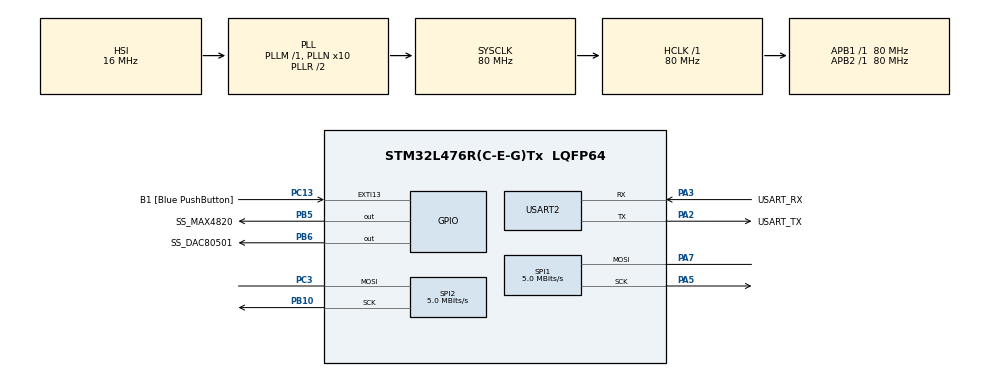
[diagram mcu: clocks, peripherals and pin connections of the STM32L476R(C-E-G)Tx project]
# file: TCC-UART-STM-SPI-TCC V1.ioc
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Dma.Request0=USART2_RX
Dma.USART2_RX.0.Direction=DMA_PERIPH_TO_MEMORY
Dma.USART2_RX.0.Instance=DMA1_Channel6
Dma.USART2_RX.0.MemDataAlignment=DMA_MDATAALIGN_BYTE
Dma.USART2_RX.0.MemInc=DMA_MINC_ENABLE
Dma.USART2_RX.0.Mode=DMA_NORMAL
Dma.USART2_RX.0.PeriphDataAlignment=DMA_PDATAALIGN_BYTE
Dma.USART2_RX.0.PeriphInc=DMA_PINC_DISABLE
Dma.USART2_RX.0.Priority=DMA_PRIORITY_LOW
Mcu.Family=STM32L4
Mcu.Name=STM32L476R(C-E-G)Tx
Mcu.Package=LQFP64
NVIC.DMA1_Channel6_IRQn=true\:0\:0\:false\:false\:true\:false\:true\:true
NVIC.PriorityGroup=NVIC_PRIORITYGROUP_4
NVIC.USART2_IRQn=true\:0\:0\:false\:false\:true\:true\:true\:true
PA13\ (JTMS-SWDIO).GPIO_Label=TMS
PA13\ (JTMS-SWDIO).Mode=Serial_Wire
PA13\ (JTMS-SWDIO).Signal=SYS_JTMS-SWDIO
PA14\ (JTCK-SWCLK).GPIO_Label=TCK
PA14\ (JTCK-SWCLK).Mode=Serial_Wire
PA14\ (JTCK-SWCLK).Signal=SYS_JTCK-SWCLK
PA2.GPIO_Label=USART_TX
PA2.GPIO_Mode=GPIO_MODE_AF_PP
PA2.GPIO_PuPd=GPIO_NOPULL
PA2.GPIO_Speed=GPIO_SPEED_FREQ_VERY_HIGH
PA2.Mode=Asynchronous
PA2.Signal=USART2_TX
PA3.GPIO_Label=USART_RX
PA3.GPIO_Mode=GPIO_MODE_AF_PP
PA3.GPIO_PuPd=GPIO_NOPULL
PA3.GPIO_Speed=GPIO_SPEED_FREQ_VERY_HIGH
PA3.Mode=Asynchronous
PA3.Signal=USART2_RX
PA5.Mode=Simplex_Bidirectional_Master
PA5.Signal=SPI1_SCK
PA7.Mode=Simplex_Bidirectional_Master
PA7.Signal=SPI1_MOSI
PB10.Mode=Simplex_Bidirectional_Master
PB10.Signal=SPI2_SCK
PB3\ (JTDO-TRACESWO).GPIO_Label=SWO
PB3\ (JTDO-TRACESWO).Signal=SYS_JTDO-SWO
PB5.GPIO_Label=SS_MAX4820
PB5.Signal=GPIO_Output
PB6.GPIO_Label=SS_DAC80501
PB6.Signal=GPIO_Output
PC13.GPIO_Label=B1 [Blue PushButton]
PC13.GPIO_ModeDefaultEXTI=GPIO_MODE_IT_FALLING
PC13.GPIO_PuPd=GPIO_NOPULL
PC13.Signal=GPXTI13
PC14-OSC32_IN\ (PC14).Mode=LSE-External-Oscillator
PC14-OSC32_IN\ (PC14).Signal=RCC_OSC32_IN
PC15-OSC32_OUT\ (PC15).Mode=LSE-External-Oscillator
PC15-OSC32_OUT\ (PC15).Signal=RCC_OSC32_OUT
PC3.Mode=Simplex_Bidirectional_Master
PC3.Signal=SPI2_MOSI
PH0-OSC_IN\ (PH0).Signal=RCC_OSC_IN
PH1-OSC_OUT\ (PH1).Signal=RCC_OSC_OUT
ProjectManager.HeapSize=0x200
ProjectManager.StackSize=0x400
ProjectManager.TargetToolchain=STM32CubeIDE
RCC.ADCFreq_Value=64000000
RCC.AHBFreq_Value=80000000
RCC.APB1Freq_Value=80000000
RCC.APB1TimFreq_Value=80000000
RCC.APB2Freq_Value=80000000
RCC.APB2TimFreq_Value=80000000
RCC.CortexFreq_Value=80000000
RCC.HCLKFreq_Value=80000000
RCC.HSE_VALUE=8000000
RCC.HSI_VALUE=16000000
RCC.MSI_VALUE=4000000
RCC.PLLN=10
RCC.PLLSourceVirtual=RCC_PLLSOURCE_HSI
RCC.PREFETCH_ENABLE=1
RCC.SYSCLKFreq_VALUE=80000000
RCC.SYSCLKSource=RCC_SYSCLKSOURCE_PLLCLK
RCC.USBFreq_Value=64000000
RCC.VCOOutputFreq_Value=160000000
SPI1.BaudRatePrescaler=SPI_BAUDRATEPRESCALER_16
SPI1.CLKPolarity=SPI_POLARITY_HIGH
SPI1.CalculateBaudRate=5.0 MBits/s
SPI1.DataSize=SPI_DATASIZE_8BIT
SPI1.Direction=SPI_DIRECTION_1LINE
SPI1.Mode=SPI_MODE_MASTER
SPI1.VirtualType=VM_MASTER
SPI2.BaudRatePrescaler=SPI_BAUDRATEPRESCALER_16
SPI2.CalculateBaudRate=5.0 MBits/s
SPI2.DataSize=SPI_DATASIZE_8BIT
SPI2.Direction=SPI_DIRECTION_1LINE
SPI2.Mode=SPI_MODE_MASTER
SPI2.VirtualType=VM_MASTER
USART2.VirtualMode-Asynchronous=VM_ASYNC
board=NUCLEO-L476RG

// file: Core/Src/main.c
/* USER CODE BEGIN Header */
/**
  ******************************************************************************
  * @file           : main.c
  * @brief          : Main program body
  ******************************************************************************
  * @attention
  *
  * Copyright (c) 2024 STMicroelectronics.
  * All rights reserved.
  *
  * This software is licensed under terms that can be found in the LICENSE file
  * in the root directory of this software component.
  * If no LICENSE file comes with this software, it is provided AS-IS.
  *
  ******************************************************************************
  */
/* USER CODE END Header */
#include "main.h"

/* USER CODE BEGIN Includes */
#include "string.h"
#include "stm32l4xx_hal.h"
/* USER CODE END Includes */

/* USER CODE BEGIN PTD */
extern SPI_HandleTypeDef hspi1;  // De SPI interface die we gebruiken
/* USER CODE END PTD */

/* USER CODE BEGIN PD */

//UART
#define RxBuf_SIZE 10 //16 bits geeft waarde van 0 tm 65535, dus maximaal 5 decimalen + \r\n dus 7 decimalen maximaal. Om errors te voorkomen is de buffer 10
#define MainBuf_SIZE 10

//MAX4820
extern SPI_HandleTypeDef hspi2;
#define MAX4820_CS_PIN    GPIO_PIN_5   // De GPIO pin die verbonden is met CS
#define MAX4820_CS_PORT   GPIOB        // De GPIO poort die verbonden is met CS

//Registers adres definitie van de DAC80501
#define ADDR_NOOP_register 0b00000000 //No operation, Hex 0x00
#define ADDR_DEVID_register 0b00000001 //Device identification, Hex 0x01
#define ADDR_SYNC_register 0b0000 0010 //Synchronisation, Hex 0x02
#define ADDR_CONFIG_register 0b00000011 //Configuration, Hex 0x03
#define ADDR_GAIN_register 0b00000100 //Gain, Hex 0x04
#define ADDR_TRIGGER_register 0b00000101 //Trigger, Hex 0x05
#define ADDR_STATUS_register 0b00000111 //Status, Hex 0x07
#define ADDR_DAC_DATA_register 0b00001000 //Digital-to-analog converter, Hex 0x08

//Register Data van de DAC80501
#define DATA_NOOP 0x00
	//#define DATA_DEVID_register 0b0000 0001 0001 0101, kan worden uitgelezen
#define DATA_SYNC_register 0x00
#define DATA_CONFIG_register 0b0000000100000000 //disabling internal reference & power-down mode
#define DATA_GAIN_register 0x00 //referencespanning delen door 1 & gain op 1 zetten
#define DATA_TRIGGER_register 0x0A //dit reset de dac  & zet de dac in asynchronous mode(default)
	//#define DATA_STATUS_register 0x01 geeft aan of DAC wordt uitgeschakeld, 0x00 geeft aan dat dac is ingeschakeld
#define DAC80501_SPI_TIMEOUT 100

//SS pin van de DAC, verander zonodig
#define DAC_SS_Pin GPIO_PIN_6
#define DAC_SS_Port GPIOB

/* USER CODE END PD */

SPI_HandleTypeDef hspi1;
SPI_HandleTypeDef hspi2;

UART_HandleTypeDef huart2;
DMA_HandleTypeDef hdma_usart2_rx;

/* USER CODE BEGIN PV */
uint8_t RxBuf[RxBuf_SIZE];
uint8_t MainBuf[MainBuf_SIZE];
char TxBuf[RxBuf_SIZE];
uint16_t convertedString;

//MAX4820
uint8_t MAX4820_SS_Pin = GPIO_PIN_5; //port B

//DAC80501
uint8_t DacAdres = 0b10010010;
uint16_t DATA__DAC_DATA_register;
HAL_StatusTypeDef check;
/* USER CODE END PV */

void SystemClock_Config(void);
static void MX_GPIO_Init(void);
static void MX_DMA_Init(void);
static void MX_USART2_UART_Init(void);
static void MX_SPI2_Init(void);
static void MX_SPI1_Init(void);
/* USER CODE BEGIN PFP */
//MAX4820
void MAX4820_Select(void)
{
    HAL_GPIO_WritePin(MAX4820_CS_PORT, MAX4820_CS_PIN, GPIO_PIN_RESET); // CS low
}
void MAX4820_Deselect(void)
{
    HAL_GPIO_WritePin(MAX4820_CS_PORT, MAX4820_CS_PIN, GPIO_PIN_SET);   // CS high
}

void MAX4820_SendData(uint8_t data)
{
	uint8_t txData[1];
	txData[0] = data;

    MAX4820_Select();  // Activeren van CS
    HAL_SPI_Transmit(&hspi2, txData, 1, HAL_MAX_DELAY);  // Verzenden van 8 bits data
    MAX4820_Deselect();  // Deactiveren van CS
}

void MAX4820_5V_pos(void)
{
	MAX4820_SendData(0b00000110); //dec: 6
}

void MAX4820_60V_pos(void)
{
	MAX4820_SendData(0b00000101); //dec:5
}

void MAX4820_5V_neg(void)
{
	MAX4820_SendData(0b00001010); //dec: 10
}

void MAX4820_60V_neg(void)
{
	MAX4820_SendData(0b00001001); //dec: 9
}

HAL_StatusTypeDef DAC80501Reset(void)
{
    HAL_StatusTypeDef status;
    uint8_t txData[3];

    // Stel het adres en de data in voor het trigger-register van de DAC80501
    txData[0] = ADDR_TRIGGER_register;                     // Registeradres
    txData[1] = (DATA_TRIGGER_register >> 8 ) & 0xFF;      // MSB van de 16-bits data
    txData[2] = (DATA_TRIGGER_register & 0xFF);              // LSB van de 16-bits data

    // Zet de Chip Select (CS/SS) lijn laag om SPI-communicatie te starten
    HAL_GPIO_WritePin(DAC_SS_Port, DAC_SS_Pin, GPIO_PIN_RESET);

    // Verzend de 24-bits data via SPI
    status = HAL_SPI_Transmit(&hspi1, txData, 3, DAC80501_SPI_TIMEOUT);

    // Zet de Chip Select (CS/SS) lijn hoog om SPI-communicatie te beëindigen
    HAL_GPIO_WritePin(DAC_SS_Port, DAC_SS_Pin, GPIO_PIN_SET);

    // Retourneer de status van de SPI-communicatie (HAL_OK of foutcode)
    return status;
}

HAL_StatusTypeDef DAC80501Config(void)
{
	 HAL_StatusTypeDef status;
	 uint8_t txData[3];

	 txData[0] =  ADDR_CONFIG_register;                     // Registeradres
	 txData[1] = (DATA_CONFIG_register >> 8 ) & 0xFF;      // MSB van de 16-bits data
	 txData[2] = (DATA_CONFIG_register & 0xFF);              // LSB van de 16-bits data

	 // Zet de Chip Select (CS/SS) lijn laag om SPI-communicatie te starten
	 HAL_GPIO_WritePin(DAC_SS_Port, DAC_SS_Pin, GPIO_PIN_RESET);

	 // Verzend de 24-bits data via SPI
	 status = HAL_SPI_Transmit(&hspi1, txData, 3, DAC80501_SPI_TIMEOUT);

	 // Zet de Chip Select (CS/SS) lijn hoog om SPI-communicatie te beëindigen
	 HAL_GPIO_WritePin(DAC_SS_Port, DAC_SS_Pin, GPIO_PIN_SET);

	 // Retourneer de status van de SPI-communicatie (HAL_OK of foutcode)
	 return status;
}

HAL_StatusTypeDef DAC80501Gain(void)
{
	 HAL_StatusTypeDef status;
	 uint8_t txData[3];

	 txData[0] = ADDR_GAIN_register ;                     // Registeradres
	 txData[1] = (DATA_GAIN_register >> 8 ) & 0xFF;      // MSB van de 16-bits data
	 txData[2] = (DATA_GAIN_register & 0xFF);              // LSB van de 16-bits data

	 // Zet de Chip Select (CS/SS) lijn laag om SPI-communicatie te starten
	 HAL_GPIO_WritePin(DAC_SS_Port, DAC_SS_Pin, GPIO_PIN_RESET);

	 // Verzend de 24-bits data via SPI
	 status = HAL_SPI_Transmit(&hspi1, txData, 3, DAC80501_SPI_TIMEOUT);

	 // Zet de Chip Select (CS/SS) lijn hoog om SPI-communicatie te beëindigen
	 HAL_GPIO_WritePin(DAC_SS_Port, DAC_SS_Pin, GPIO_PIN_SET);

	 // Retourneer de status van de SPI-communicatie (HAL_OK of foutcode)
	 return status;
}

HAL_StatusTypeDef DAC80501DataVoltage5V(uint16_t voltage_mV)  //data(getal) moet in mV zijn van 0 tot 5000mV
{
	//Zorgen dat spanning tussen 0-5000mV zit
	if(voltage_mV > 5000){ //Houdt de spanning onder de 5000mV
		voltage_mV = 5000;
	}
	if(voltage_mV < 0){ //Houdt de spanning boven de 0mV. Werkt niet goed vanwerge unsigned naar signed conversion bij functie aanroep
		voltage_mV = 0;
	}

    HAL_StatusTypeDef status;
    uint16_t convertedDataVoltage = (uint16_t)(((uint32_t)voltage_mV * 65535) / 5000); // 0-5000mV omzetten naar 16 bits waarde die naar de dac gestuurd kan worden. gebruik gehele getallen
    uint8_t txData[3];

    // Stel het adres en de data in voor het trigger-register van de DAC80501
    txData[0] = ADDR_DAC_DATA_register;                     // Registeradres
    txData[1] = (convertedDataVoltage >> 8 ) & 0xFF;      // MSB van de 16-bits data
    txData[2] = (convertedDataVoltage & 0xFF);              // LSB van de 16-bits data

    // Zet de Chip Select (CS/SS) lijn laag om SPI-communicatie te starten
    HAL_GPIO_WritePin(DAC_SS_Port, DAC_SS_Pin, GPIO_PIN_RESET);

    // Verzend de 24-bits data via SPI
    status = HAL_SPI_Transmit(&hspi1, txData, 3, DAC80501_SPI_TIMEOUT);

    // Zet de Chip Select (CS/SS) lijn hoog om SPI-communicatie te beëindigen
    HAL_GPIO_WritePin(DAC_SS_Port, DAC_SS_Pin, GPIO_PIN_SET);

    // Retourneer de status van de SPI-communicatie (HAL_OK of foutcode)
    return status;
}

HAL_StatusTypeDef DAC80501DataVoltage60V(uint16_t voltage_mV)  //data(getal) moet in mV zijn van 0 tot 60000mV
{
	//Zorgen dat spanning tussen 0-5000mV zit
	if(voltage_mV > 60000){ //Houdt de spanning onder de 5000mV
		voltage_mV = 60000;
	}
	if(voltage_mV < 0){ //Houdt de spanning boven de 0mV. Werkt niet goed vanwerge unsigned naar signed conversion bij functie aanroep
		voltage_mV = 0;
	}

    HAL_StatusTypeDef status;
    uint16_t convertedDataVoltage = (uint16_t)(((uint32_t)voltage_mV * 65535) / (5000*12)); // 0-60000mV omzetten naar 16 bits waarde die naar de dac gestuurd kan worden. gebruik gehele getallen
    uint8_t txData[3];

    // Stel het adres en de data in voor het trigger-register van de DAC80501
    txData[0] = ADDR_DAC_DATA_register;                     // Registeradres
    txData[1] = (convertedDataVoltage >> 8 ) & 0xFF;      // MSB van de 16-bits data
    txData[2] = (convertedDataVoltage & 0xFF);              // LSB van de 16-bits data

    // Zet de Chip Select (CS/SS) lijn laag om SPI-communicatie te starten
    HAL_GPIO_WritePin(DAC_SS_Port, DAC_SS_Pin, GPIO_PIN_RESET);

    // Verzend de 24-bits data via SPI
    status = HAL_SPI_Transmit(&hspi1, txData, 3, DAC80501_SPI_TIMEOUT);

    // Zet de Chip Select (CS/SS) lijn hoog om SPI-communicatie te beëindigen
    HAL_GPIO_WritePin(DAC_SS_Port, DAC_SS_Pin, GPIO_PIN_SET);

    // Retourneer de status van de SPI-communicatie (HAL_OK of foutcode)
    return status;
}
/* USER CODE END PFP */

/* USER CODE BEGIN 0 */
void HAL_UARTEx_RxEventCallback(UART_HandleTypeDef *huart, uint16_t Size){

	if(huart->Instance == USART2){
		memcpy(MainBuf, RxBuf, Size);
		HAL_UARTEx_ReceiveToIdle_DMA(&huart2, RxBuf, RxBuf_SIZE);
		__HAL_DMA_DISABLE_IT(&hdma_usart2_rx, DMA_IT_HT);
	}

	//Kies een van de vier
	convertedString = (uint16_t)atoi((char* )RxBuf);
	MAX4820_60V_pos();DAC80501DataVoltage60V(convertedString);

	//MAX4820_5V_pos();
	//MAX4820_60V_neg();
	//MAX4820_5V_neg();
	HAL_UART_Transmit(&huart2, MainBuf, Size, 1000);

	memset(RxBuf,0,strlen(RxBuf));

}
/* USER CODE END 0 */

int main(void)
{

  /* MCU Configuration--------------------------------------------------------*/

  /* Reset of all peripherals, Initializes the Flash interface and the Systick. */
  HAL_Init();

  /* Configure the system clock */
  SystemClock_Config();

  /* Initialize all configured peripherals */
  MX_GPIO_Init();
  MX_DMA_Init();
  MX_USART2_UART_Init();
  MX_SPI2_Init();
  MX_SPI1_Init();
  /* USER CODE BEGIN 2 */
  HAL_UARTEx_ReceiveToIdle_DMA(&huart2, RxBuf, RxBuf_SIZE);
   __HAL_DMA_DISABLE_IT(&hdma_usart2_rx, DMA_IT_HT);
   HAL_Delay(1000);
  /* USER CODE END 2 */

  /* Infinite loop */
  /* USER CODE BEGIN WHILE */

   MAX4820_60V_pos();
  // MAX4820_5V_neg();
  // MAX4820_60V_neg();
  while (1)
  {

	  //DAC80501DataVoltage5V(4000);
//	  HAL_Delay(1000);
    /* USER CODE END WHILE */

  }
}

void SystemClock_Config(void)
{
  RCC_OscInitTypeDef RCC_OscInitStruct = {0};
  RCC_ClkInitTypeDef RCC_ClkInitStruct = {0};

  /** Configure the main internal regulator output voltage
  */
  if (HAL_PWREx_ControlVoltageScaling(PWR_REGULATOR_VOLTAGE_SCALE1) != HAL_OK)
  {
    Error_Handler();
  }

  /** Initializes the RCC Oscillators according to the specified parameters
  * in the RCC_OscInitTypeDef structure.
  */
  RCC_OscInitStruct.OscillatorType = RCC_OSCILLATORTYPE_HSI;
  RCC_OscInitStruct.HSIState = RCC_HSI_ON;
  RCC_OscInitStruct.HSICalibrationValue = RCC_HSICALIBRATION_DEFAULT;
  RCC_OscInitStruct.PLL.PLLState = RCC_PLL_ON;
  RCC_OscInitStruct.PLL.PLLSource = RCC_PLLSOURCE_HSI;
  RCC_OscInitStruct.PLL.PLLM = 1;
  RCC_OscInitStruct.PLL.PLLN = 10;
  RCC_OscInitStruct.PLL.PLLP = RCC_PLLP_DIV7;
  RCC_OscInitStruct.PLL.PLLQ = RCC_PLLQ_DIV2;
  RCC_OscInitStruct.PLL.PLLR = RCC_PLLR_DIV2;
  if (HAL_RCC_OscConfig(&RCC_OscInitStruct) != HAL_OK)
  {
    Error_Handler();
  }

  /** Initializes the CPU, AHB and APB buses clocks
  */
  RCC_ClkInitStruct.ClockType = RCC_CLOCKTYPE_HCLK|RCC_CLOCKTYPE_SYSCLK
                              |RCC_CLOCKTYPE_PCLK1|RCC_CLOCKTYPE_PCLK2;
  RCC_ClkInitStruct.SYSCLKSource = RCC_SYSCLKSOURCE_PLLCLK;
  RCC_ClkInitStruct.AHBCLKDivider = RCC_SYSCLK_DIV1;
  RCC_ClkInitStruct.APB1CLKDivider = RCC_HCLK_DIV1;
  RCC_ClkInitStruct.APB2CLKDivider = RCC_HCLK_DIV1;

  if (HAL_RCC_ClockConfig(&RCC_ClkInitStruct, FLASH_LATENCY_4) != HAL_OK)
  {
    Error_Handler();
  }
}

static void MX_SPI1_Init(void)
{

  /* SPI1 parameter configuration*/
  hspi1.Instance = SPI1;
  hspi1.Init.Mode = SPI_MODE_MASTER;
  hspi1.Init.Direction = SPI_DIRECTION_1LINE;
  hspi1.Init.DataSize = SPI_DATASIZE_8BIT;
  hspi1.Init.CLKPolarity = SPI_POLARITY_HIGH;
  hspi1.Init.CLKPhase = SPI_PHASE_1EDGE;
  hspi1.Init.NSS = SPI_NSS_SOFT;
  hspi1.Init.BaudRatePrescaler = SPI_BAUDRATEPRESCALER_16;
  hspi1.Init.FirstBit = SPI_FIRSTBIT_MSB;
  hspi1.Init.TIMode = SPI_TIMODE_DISABLE;
  hspi1.Init.CRCCalculation = SPI_CRCCALCULATION_DISABLE;
  hspi1.Init.CRCPolynomial = 7;
  hspi1.Init.CRCLength = SPI_CRC_LENGTH_DATASIZE;
  hspi1.Init.NSSPMode = SPI_NSS_PULSE_ENABLE;
  if (HAL_SPI_Init(&hspi1) != HAL_OK)
  {
    Error_Handler();
  }
  /* USER CODE BEGIN SPI1_Init 2 */
  //Deze code wordt gebruikt om de CPOL initial value op 1 te zetten. verander alleen de GPIO_InitStruct.Pin pin & HAL_GPIO_Init(GPIOA, &GPIO_InitStruct); poort
    GPIO_InitTypeDef GPIO_InitStruct = {0};
      GPIO_InitStruct.Pin = GPIO_PIN_5; // GPIOD Pin 1 is the SPI2_CLK
      GPIO_InitStruct.Mode = GPIO_MODE_AF_PP;
      if (hspi1.Init.CLKPolarity==SPI_POLARITY_HIGH) {
        GPIO_InitStruct.Pull = GPIO_PULLUP;
      } else {
        GPIO_InitStruct.Pull = GPIO_PULLDOWN;
      }
      GPIO_InitStruct.Speed = GPIO_SPEED_FREQ_VERY_HIGH;
      GPIO_InitStruct.Alternate = GPIO_AF5_SPI1;
      HAL_GPIO_Init(GPIOA, &GPIO_InitStruct);
      HAL_Delay(1);
  /* USER CODE END SPI1_Init 2 */

}

static void MX_SPI2_Init(void)
{

  /* SPI2 parameter configuration*/
  hspi2.Instance = SPI2;
  hspi2.Init.Mode = SPI_MODE_MASTER;
  hspi2.Init.Direction = SPI_DIRECTION_1LINE;
  hspi2.Init.DataSize = SPI_DATASIZE_8BIT;
  hspi2.Init.CLKPolarity = SPI_POLARITY_LOW;
  hspi2.Init.CLKPhase = SPI_PHASE_1EDGE;
  hspi2.Init.NSS = SPI_NSS_SOFT;
  hspi2.Init.BaudRatePrescaler = SPI_BAUDRATEPRESCALER_16;
  hspi2.Init.FirstBit = SPI_FIRSTBIT_MSB;
  hspi2.Init.TIMode = SPI_TIMODE_DISABLE;
  hspi2.Init.CRCCalculation = SPI_CRCCALCULATION_DISABLE;
  hspi2.Init.CRCPolynomial = 7;
  hspi2.Init.CRCLength = SPI_CRC_LENGTH_DATASIZE;
  hspi2.Init.NSSPMode = SPI_NSS_PULSE_ENABLE;
  if (HAL_SPI_Init(&hspi2) != HAL_OK)
  {
    Error_Handler();
  }

}

static void MX_USART2_UART_Init(void)
{

  huart2.Instance = USART2;
  huart2.Init.BaudRate = 115200;
  huart2.Init.WordLength = UART_WORDLENGTH_8B;
  huart2.Init.StopBits = UART_STOPBITS_1;
  huart2.Init.Parity = UART_PARITY_NONE;
  huart2.Init.Mode = UART_MODE_TX_RX;
  huart2.Init.HwFlowCtl = UART_HWCONTROL_NONE;
  huart2.Init.OverSampling = UART_OVERSAMPLING_16;
  huart2.Init.OneBitSampling = UART_ONE_BIT_SAMPLE_DISABLE;
  huart2.AdvancedInit.AdvFeatureInit = UART_ADVFEATURE_NO_INIT;
  if (HAL_UART_Init(&huart2) != HAL_OK)
  {
    Error_Handler();
  }

}

static void MX_DMA_Init(void)
{

  /* DMA controller clock enable */
  __HAL_RCC_DMA1_CLK_ENABLE();

  /* DMA interrupt init */
  /* DMA1_Channel6_IRQn interrupt configuration */
  HAL_NVIC_SetPriority(DMA1_Channel6_IRQn, 0, 0);
  HAL_NVIC_EnableIRQ(DMA1_Channel6_IRQn);

}

static void MX_GPIO_Init(void)
{
  GPIO_InitTypeDef GPIO_InitStruct = {0};

  /* GPIO Ports Clock Enable */
  __HAL_RCC_GPIOC_CLK_ENABLE();
  __HAL_RCC_GPIOH_CLK_ENABLE();
  __HAL_RCC_GPIOA_CLK_ENABLE();
  __HAL_RCC_GPIOB_CLK_ENABLE();

  /*Configure GPIO pin Output Level */
  HAL_GPIO_WritePin(GPIOB, SS_MAX4820_Pin|SS_DAC80501_Pin, GPIO_PIN_RESET);

  /*Configure GPIO pin : B1_Pin */
  GPIO_InitStruct.Pin = B1_Pin;
  GPIO_InitStruct.Mode = GPIO_MODE_IT_FALLING;
  GPIO_InitStruct.Pull = GPIO_NOPULL;
  HAL_GPIO_Init(B1_GPIO_Port, &GPIO_InitStruct);

  /*Configure GPIO pins : SS_MAX4820_Pin SS_DAC80501_Pin */
  GPIO_InitStruct.Pin = SS_MAX4820_Pin|SS_DAC80501_Pin;
  GPIO_InitStruct.Mode = GPIO_MODE_OUTPUT_PP;
  GPIO_InitStruct.Pull = GPIO_NOPULL;
  GPIO_InitStruct.Speed = GPIO_SPEED_FREQ_LOW;
  HAL_GPIO_Init(GPIOB, &GPIO_InitStruct);

}

void Error_Handler(void)
{
  __disable_irq();
  while (1)
  {
  }
}
